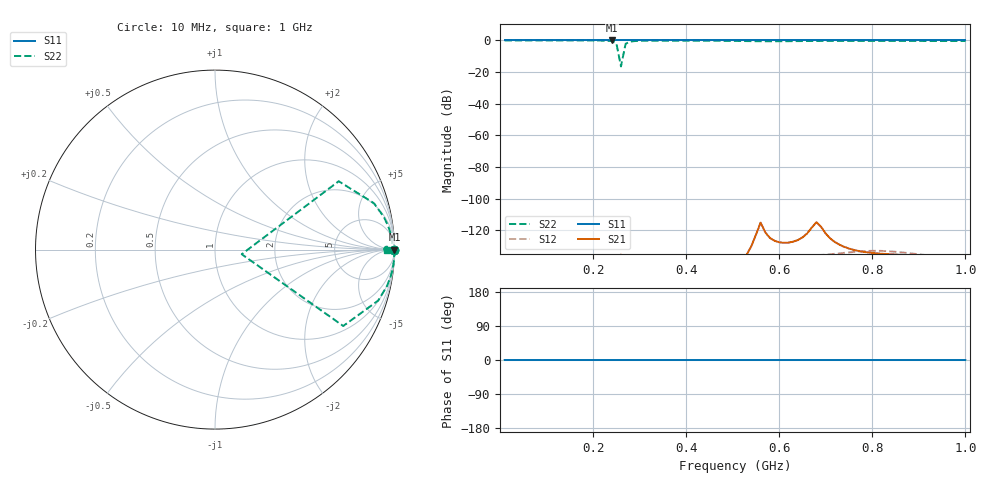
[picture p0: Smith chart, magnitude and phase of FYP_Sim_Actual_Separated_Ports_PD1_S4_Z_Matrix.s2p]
! Touchstone file from project FYP_Sim_Actual_Separated_Ports
! Exported from HFSS 13.0.2
# GHZ Z MA R 50.000000
! Terminal data exported
! Port[1] = PD1_Void_Port_T1
! Port[2] = Radiating_Plate_T1
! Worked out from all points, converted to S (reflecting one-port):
!   100 points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, 10 MHz to 1 GHz, reference 50 ohm
!   lowest |S11| = 0.0 dB at 240 MHz (marker M1)
!   phase of S11 starts at -0 deg and turns -0 deg over the sweep
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0.01  3.953e+05 -90.0  0.0005114 -48.5  0.0001255 -47.1  794.5 -89.2
0.12  3.295e+04 -90.0  0.0009384 -166.6  0.0008875 -155.1  55.95 -89.0
0.18  2.198e+04 -90.0  0.001726 -156.0  0.001772 -151.3  26.55 -88.4
0.2  1.977e+04 -90.0  0.002061 -153.1  0.002094 -151.7  19.38 -87.7
0.22  1.796e+04 -90.0  0.002476 -153.4  0.002448 -153.8  12.77 -86.1
0.23  1.717e+04 -89.8  0.002691 -155.0  0.002629 -155.5  9.592 -84.4
0.24  1.655e+04 -89.8  0.002896 -157.7  0.002816 -158.0  6.474 -80.7
0.25  1.589e+04 -89.9  0.003032 -161.4  0.002961 -161.3  3.447 -70.1
0.26  1.526e+04 -90.0  0.003091 -164.9  0.003057 -164.7  1.35 -3.0
0.27  1.469e+04 -90.0  0.003081 -168.0  0.003094 -168.0  3.523 63.5
0.28  1.416e+04 -90.0  0.00302 -170.2  0.003069 -170.8  6.725 73.9
0.29  1.367e+04 -90.0  0.002934 -171.3  0.002993 -172.7  10.14 77.3
0.3  1.321e+04 -90.0  0.002844 -171.4  0.00289 -173.2  13.77 78.6
0.31  1.278e+04 -90.0  0.002765 -170.5  0.002785 -172.3  17.63 79.0
0.34  1.165e+04 -90.0  0.002657 -164.1  0.002666 -161.2  31.45 77.4
0.41  9655 -90.0  0.003522 -143.5  0.00591 -133.8  94.99 49.0
0.51  7755 -90.0  0.01359 -108.8  0.007797 -153.7  51.18 -21.4
0.58  6816 -90.0  0.06848 95.8  0.01188 -123.1  33.93 1.4
0.62  6374 -90.0  0.04937 82.3  0.01908 -135.6  36.79 15.6
0.67  5898 -90.0  0.1707 91.8  0.02249 -149.9  46.46 22.2
0.84  4703 -90.0  0.0254 128.8  0.03134 119.2  60.75 -2.9
1  3950 -90.0  0.01204 72.7  0.01204 72.7  48.88 -5.4
